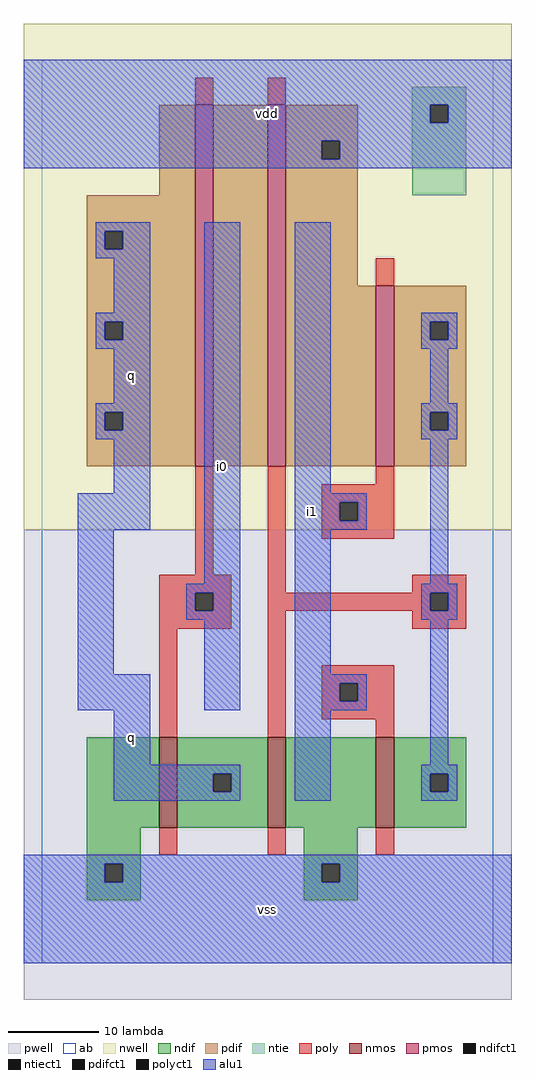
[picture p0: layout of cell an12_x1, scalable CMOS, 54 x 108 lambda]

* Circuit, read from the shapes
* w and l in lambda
.subckt an12_x1 i0 i1 q vdd vss
M1 q i0 vss VSUBS nfet w=10 l=2
M2 vss n1 q VSUBS nfet w=10 l=2
M3 n1 i1 vss VSUBS nfet w=10 l=2
M4 n2 i0 q vdd pfet w=40 l=2
M5 vdd n1 n2 vdd pfet w=40 l=2
M6 n1 i1 vdd vdd pfet w=20 l=2
.ends

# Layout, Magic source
magic
tech scmos
<< ab >>
rect 0 0 50 100
<< nwell >>
rect -2 48 52 104
<< pwell >>
rect -2 -4 52 48
<< poly >>
rect 17 95 19 98
rect 25 95 27 98
rect 37 75 39 78
rect 17 43 19 55
rect 13 41 21 43
rect 13 39 17 41
rect 19 39 21 41
rect 13 37 21 39
rect 25 41 27 55
rect 37 53 39 55
rect 31 51 39 53
rect 31 49 33 51
rect 35 49 39 51
rect 31 47 39 49
rect 41 41 47 43
rect 25 39 43 41
rect 45 39 47 41
rect 13 25 15 37
rect 25 25 27 39
rect 41 37 47 39
rect 31 31 39 33
rect 31 29 33 31
rect 35 29 39 31
rect 31 27 39 29
rect 37 25 39 27
rect 13 12 15 15
rect 25 12 27 15
rect 37 12 39 15
<< ndif >>
rect 5 15 13 25
rect 15 21 25 25
rect 15 19 19 21
rect 21 19 25 21
rect 15 15 25 19
rect 27 15 37 25
rect 39 21 47 25
rect 39 19 43 21
rect 45 19 47 21
rect 39 15 47 19
rect 5 11 11 15
rect 5 9 7 11
rect 9 9 11 11
rect 5 7 11 9
rect 29 11 35 15
rect 29 9 31 11
rect 33 9 35 11
rect 29 7 35 9
<< pdif >>
rect 13 85 17 95
rect 5 81 17 85
rect 5 79 7 81
rect 9 79 17 81
rect 5 71 17 79
rect 5 69 7 71
rect 9 69 17 71
rect 5 61 17 69
rect 5 59 7 61
rect 9 59 17 61
rect 5 55 17 59
rect 19 55 25 95
rect 27 91 35 95
rect 27 89 31 91
rect 33 89 35 91
rect 27 75 35 89
rect 27 55 37 75
rect 39 71 47 75
rect 39 69 43 71
rect 45 69 47 71
rect 39 61 47 69
rect 39 59 43 61
rect 45 59 47 61
rect 39 55 47 59
<< alu1 >>
rect -2 95 52 100
rect -2 93 43 95
rect 45 93 52 95
rect -2 91 52 93
rect -2 89 31 91
rect 33 89 52 91
rect -2 88 52 89
rect 6 81 12 82
rect 6 79 7 81
rect 9 79 12 81
rect 6 78 12 79
rect 8 72 12 78
rect 6 71 12 72
rect 6 69 7 71
rect 9 69 12 71
rect 6 68 12 69
rect 8 62 12 68
rect 6 61 12 62
rect 6 59 7 61
rect 9 59 12 61
rect 6 58 12 59
rect 8 52 12 58
rect 4 48 12 52
rect 4 32 8 48
rect 18 42 22 82
rect 16 41 22 42
rect 16 39 17 41
rect 19 39 22 41
rect 16 38 22 39
rect 4 28 12 32
rect 18 28 22 38
rect 28 52 32 82
rect 42 71 46 72
rect 42 69 43 71
rect 45 69 46 71
rect 42 68 46 69
rect 43 62 45 68
rect 42 61 46 62
rect 42 59 43 61
rect 45 59 46 61
rect 42 58 46 59
rect 28 51 36 52
rect 28 49 33 51
rect 35 49 36 51
rect 28 48 36 49
rect 28 32 32 48
rect 43 42 45 58
rect 42 41 46 42
rect 42 39 43 41
rect 45 39 46 41
rect 42 38 46 39
rect 28 31 36 32
rect 28 29 33 31
rect 35 29 36 31
rect 28 28 36 29
rect 8 22 12 28
rect 8 21 22 22
rect 8 19 19 21
rect 21 19 22 21
rect 8 18 22 19
rect 28 18 32 28
rect 43 22 45 38
rect 42 21 46 22
rect 42 19 43 21
rect 45 19 46 21
rect 42 18 46 19
rect -2 11 52 12
rect -2 9 7 11
rect 9 9 31 11
rect 33 9 52 11
rect -2 0 52 9
<< ntie >>
rect 41 95 47 97
rect 41 93 43 95
rect 45 93 47 95
rect 41 85 47 93
<< nmos >>
rect 13 15 15 25
rect 25 15 27 25
rect 37 15 39 25
<< pmos >>
rect 17 55 19 95
rect 25 55 27 95
rect 37 55 39 75
<< polyct1 >>
rect 17 39 19 41
rect 33 49 35 51
rect 43 39 45 41
rect 33 29 35 31
<< ndifct1 >>
rect 19 19 21 21
rect 43 19 45 21
rect 7 9 9 11
rect 31 9 33 11
<< ntiect1 >>
rect 43 93 45 95
<< pdifct1 >>
rect 7 79 9 81
rect 7 69 9 71
rect 7 59 9 61
rect 31 89 33 91
rect 43 69 45 71
rect 43 59 45 61
<< labels >>
rlabel alu1 10 25 10 25 6 q
rlabel alu1 20 55 20 55 6 i0
rlabel alu1 10 65 10 65 6 q
rlabel alu1 25 6 25 6 6 vss
rlabel alu1 30 50 30 50 6 i1
rlabel alu1 25 94 25 94 6 vdd
<< end >>
